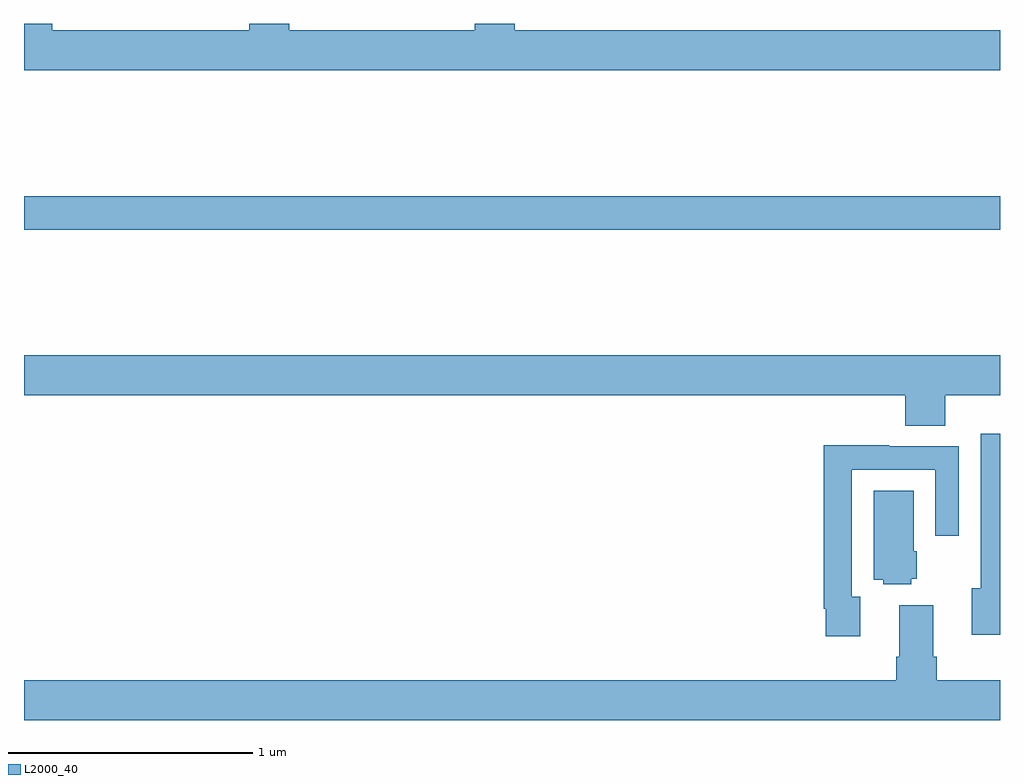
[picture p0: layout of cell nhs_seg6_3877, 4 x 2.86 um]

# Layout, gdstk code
import gdstk
lib = gdstk.Library(unit=1e-6, precision=1e-09)
def R(c, l, rs):  # rectangles x0, y0, x1, y1
    for r in rs: c.add(gdstk.rectangle(r[:2], r[2:], *l))
def P(c, l, *ps):  # polygons
    for p in ps: c.add(gdstk.Polygon(p, *l))
L2000_40 = (2000, 40)

nhs_seg6_3877 = lib.new_cell('nhs_seg6_3877')
R(nhs_seg6_3877, L2000_40, [(339,974.656,343,974.792)])
P(nhs_seg6_3877, L2000_40, [(343,975.472),(341.012,975.472),(341.012,975.5),(340.847,975.5),(340.847,975.472),(340.088,975.472),(340.088,975.5),(339.923,975.5),(339.923,975.472),(339.116,975.472),(339.116,975.5),(339,975.5),(339,975.308),(343,975.308)],
  [(342.776,973.976),(343,973.976),(343,974.14),(339,974.14),(339,973.976),(342.611,973.976),(342.611,973.852),(342.776,973.852)],
  [(343,973.819),(342.921,973.819),(342.921,973.186),(342.884,973.186),(342.884,972.995),(343,972.995)],
  [(342.427,973.151),(342.393,973.151),(342.393,973.671),(342.735,973.671),(342.735,973.401),(342.831,973.401),(342.831,973.767),(342.547,973.767),(342.547,973.771),(342.277,973.771),(342.277,973.102),(342.285,973.102),(342.285,972.99),(342.427,972.99)],
  [(342.636,973.224),(342.658,973.224),(342.658,973.338),(342.646,973.338),(342.646,973.586),(342.482,973.586),(342.482,973.22),(342.522,973.22),(342.522,973.202),(342.636,973.202)],
  [(343,972.808),(342.74,972.808),(342.74,972.904),(342.727,972.904),(342.727,973.117),(342.587,973.117),(342.587,972.904),(342.575,972.904),(342.575,972.808),(339,972.808),(339,972.644),(343,972.644)])

lib.write_gds('nhs_seg6_3877.gds')
